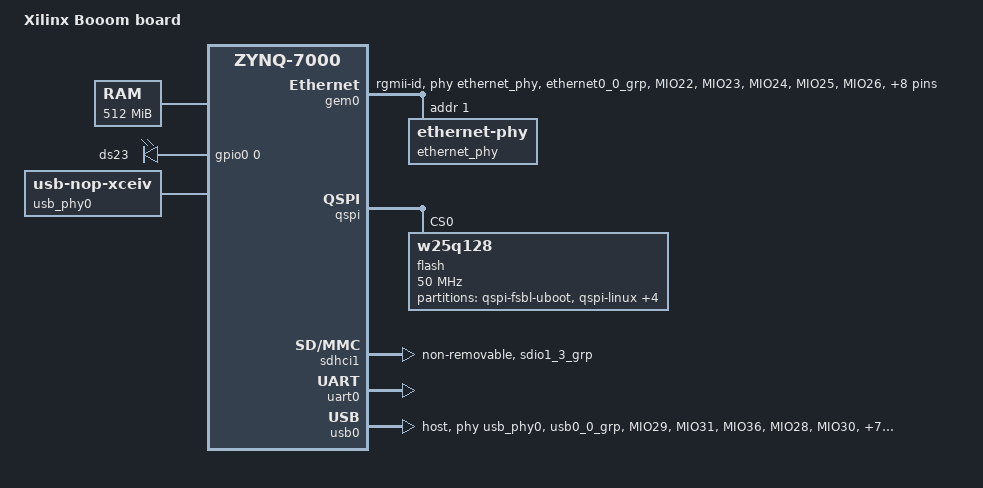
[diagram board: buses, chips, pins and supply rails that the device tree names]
// SPDX-License-Identifier: GPL-2.0+
/*
 *  Copyright (C) 2011 - 2015 Xilinx
 *  Copyright (C) 2012 National Instruments Corp.
 */
/dts-v1/;
#include "zynq-7000.dtsi"
#include <dt-bindings/gpio/gpio.h>

/ {
	model = "Xilinx Booom board";
	compatible = "xlnx,zynq-booom", "xlnx,zynq-7000";

	aliases {
		ethernet0 = &gem0;
		serial0 = &uart0;
		serial1 = &uart1;
		spi0 = &qspi;
		mmc0 = &sdhci0;
		mmc1 = &sdhci1;
		usb0 = &usb0;
	};

	memory@0 {
		device_type = "memory";
		reg = <0x0 0x20000000>;
	};

	chosen {
		bootargs = "";
		stdout-path = "serial0:115200n8";
	};


	leds {
		compatible = "gpio-leds";

		led-ds23 {
			label = "ds23";
			gpios = <&gpio0 0 0>;
			linux,default-trigger = "heartbeat";
		};
	};

	usb_phy0: phy0 {
		compatible = "usb-nop-xceiv";
		#phy-cells = <0>;
	};
};

&clkc {
	ps-clk-frequency = <33333333>;
};

&gem0 {
	status = "okay";
	phy-mode = "rgmii-id";
	phy-handle = <&ethernet_phy>;
        pinctrl-names = "default";
        pinctrl-0 = <&pinctrl_gem0_default>;
        
	ethernet_phy: ethernet-phy@1 {
                reg = <1>;
        };
};

&gpio0 {
	pinctrl-names = "default";
	pinctrl-0 = <&pinctrl_gpio0_default>;
};

&pinctrl0 {

	pinctrl_gpio0_default: gpio0-default {
		mux {
			function = "gpio0";
			groups = "gpio0_7_grp", "gpio0_8_grp", "gpio0_9_grp",
				 "gpio0_10_grp";
		};

		conf {
			groups = "gpio0_7_grp", "gpio0_8_grp", "gpio0_9_grp",
				 "gpio0_10_grp";
			slew-rate = <0>;
			power-source = <1>;
		};

		conf-pull-up {
			pins = "MIO8", "MIO9", "MIO10";
			bias-pull-up;
		};

		conf-pull-none {
			pins = "MIO7";
			bias-disable;
		};
	};

        pinctrl_gem0_default: gem0-default {
                
		mux {
                        function = "ethernet0";
                        groups = "ethernet0_0_grp";
		};

		conf {
                        groups = "ethernet0_0_grp";
                        slew-rate = <0>;
                        power-source = <1>;
                };

                conf-rx {
                        pins = "MIO22", "MIO23", "MIO24", "MIO25", "MIO26", "MIO27";
                        bias-high-impedance;
                        low-power-disable;
                };

                conf-tx {
                        pins = "MIO16", "MIO17", "MIO18", "MIO19", "MIO20", "MIO21";
                        bias-disable;
                        low-power-enable;
                };

                mux-mdio {
                        function = "mdio0";
                        groups = "mdio0_0_grp";
                };

		conf-mdio {
			groups = "mdio0_0_grp";
			slew-rate = <0>;
                        bias-disable;
		};

        };

	pinctrl_sdhci0_default: sdhci0-default {
		mux {
			groups = "sdio0_2_grp";
			function = "sdio0";
		};

		conf {
			groups = "sdio0_2_grp";
			slew-rate = <0>;
			power-source = <1>;
			bias-disable;
		};

	};

	pinctrl_sdhci1_default: sdhci1-default {
                mux {
                        groups = "sdio1_3_grp";
                        function = "sdio1";
                };

                conf {
                        groups = "sdio1_3_grp";
                        slew-rate = <0>;
                        power-source = <1>;
                        bias-disable;
                };
        };

	pinctrl_usb0_default: usb0-default {
		mux {
			groups = "usb0_0_grp";
			function = "usb0";
		};

		conf {
			groups = "usb0_0_grp";
			slew-rate = <0>;
			power-source = <1>;
		};

		conf-rx {
			pins = "MIO29", "MIO31", "MIO36";
			bias-high-impedance;
		};

		conf-tx {
			pins = "MIO28", "MIO30", "MIO32", "MIO33", "MIO34",
			       "MIO35", "MIO37", "MIO38", "MIO39";
			bias-disable;
		};
	};

};

&qspi {
	bootph-all;
	status = "okay";
	num-cs = <1>;
	flash@0 {
		compatible = "w25q128", "jedec,spi-nor";
		reg = <0x0>;
		spi-tx-bus-width = <1>;
		spi-rx-bus-width = <4>;
		spi-max-frequency = <50000000>;
		partitions {
			compatible = "fixed-partitions";
			#address-cells = <1>;
			#size-cells = <1>;
			partition@0 {
				label = "qspi-fsbl-uboot";
				reg = <0x0 0x200000>;
			};
			partition@200000 {
				label = "qspi-linux";
				reg = <0x200000 0x800000>;
			};
			partition@a00000 {
				label = "qspi-device-tree";
				reg = <0xa00000 0x80000>;
			};
			partition@a80000 {
                                label = "qspi-uboot-cmd";
                                reg = <0xa80000 0x80000>;
                        };
			partition@b00000 {
				label = "qspi-rootfs";
				reg = <0xb00000 0x200000>;
			};
			partition@d00000 {
				label = "qspi-bitstream";
				reg = <0xd00000 0x300000>;
			};
		};
	};
};

&sdhci0 {
	status = "disabled";
	pinctrl-0 = <&pinctrl_sdhci0_default>;
};

&sdhci1 {
        status = "okay";
        pinctrl-0 = <&pinctrl_sdhci1_default>;
	max-frequency = <200000000>;
        clock-frequency = <150000000>;
        mmc-hs200-1_8v;
        non-removable;
};

&uart0 {
	bootph-all;
        status = "okay";
};

&uart1 {
	status = "disable";
};

&usb0 {
	status = "okay";
	dr_mode = "host";
	usb-phy = <&usb_phy0>;
	pinctrl-names = "default";
	pinctrl-0 = <&pinctrl_usb0_default>;

};
